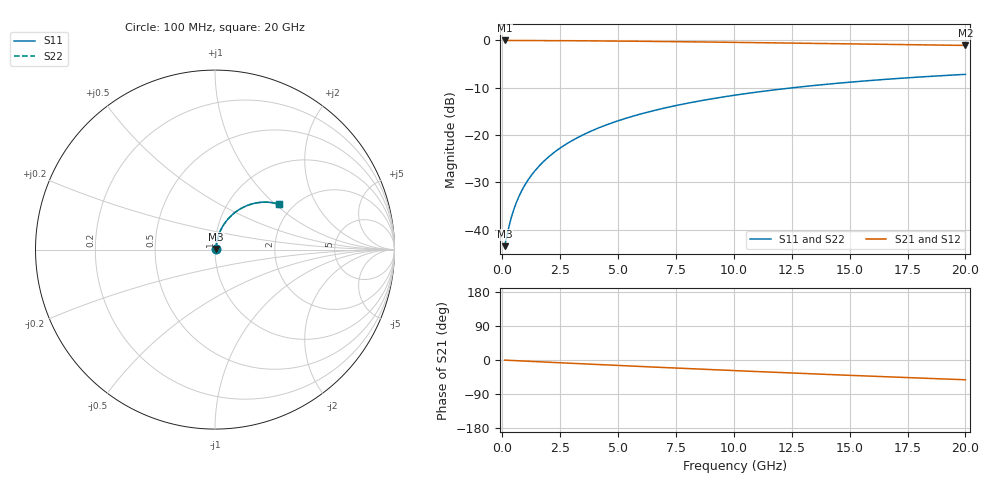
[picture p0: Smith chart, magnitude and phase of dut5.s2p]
! Touchstone file exported from HFSS 2026.1.0
!  File:  C:/ffzhzh/LocalFiles/Ansys_Project_Files/temp_train_TMRDL_5_1782879689_39248.aedt
!  Generated:  12:23:05 PM Jul  1, 2026
!  Design:  TMRDL
!  Project:  temp_train_TMRDL_5_1782879689_39248
! Variables:
!  h_bsmrdl = 2um
!  h_ox = 20um
!  h_rdl = 5um
!  h_sub = 80um
!  h_tmrdl = 4.46um
!  h_tsv = 80um
!  h_via = 3um
!  l_bsmrdl = 300um
!  l_sub = 1239.51um
!  l_tmrdl = 839.51um
!  m_sub = 200um
!  pitch = 28.39um
!  r_tsv = 6um
!  s_tmrdl = 10um
!  w_bsmrdl = 18um
!  w_sub = 500um
!  w_tmrdl = 11.22um
!  x_tsv_center1 = 845.12um
!  x_tsv_center2 = 1163.12um
!  x_tsv_center3 = 2013.85um
!  x_tsv_center4 = 2331.85um
!  x_tsv_center5 = 3182.58um
!  x_tsv_center6 = 3500.58um
# GHz S MA R 50.000000
! Terminal data exported
! Port[1] = TM_RDL1_1_T1
! Port[2] = TM_RDL1_1_T2
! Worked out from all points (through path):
!   200 points, 100 MHz to 20 GHz, reference 50 ohm
!   highest |S21| = -0.05 dB at 100 MHz (marker M1); lowest = -1.1 dB at 20 GHz (marker M2)
!   group delay of S21, straight-line fit = 7.24 ps
!   lowest |S11| = -43.5 dB at 100 MHz (marker M3), VSWR 1.01, Z = 50.6 + j0.314 ohm
!   |S11| at or under -10 dB: start of sweep to 12.6 GHz
!   |S22| runs from -43.5 to -7.2 dB; largest |S21 - S12| = 1.7e-14
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0.1  0.006705 27.6  0.9941 -0.3  0.9941 -0.3  0.006705 27.6
! Gamma 0 0 0 0
! Port Impedance 50 0 50 0
0.3  0.01112 55.1  0.9938 -0.9  0.9938 -0.9  0.01112 55.1
0.4  0.01373 61.2  0.9936 -1.2  0.9936 -1.2  0.01373 61.2
0.5  0.01642 65.2  0.9934 -1.5  0.9934 -1.5  0.01642 65.2
0.6  0.01915 68.1  0.9932 -1.8  0.9932 -1.8  0.01915 68.1
0.7  0.02191 70.1  0.9931 -2.1  0.9931 -2.1  0.02191 70.1
0.9  0.02749 72.9  0.9928 -2.7  0.9928 -2.7  0.02749 72.9
1.2  0.03595 75.2  0.9923 -3.5  0.9923 -3.5  0.03595 75.2
1.4  0.04162 76.0  0.992 -4.1  0.992 -4.1  0.04162 76.0
1.7  0.05014 76.5  0.9914 -5.0  0.9914 -5.0  0.05014 76.5
2.2  0.06433 76.6  0.9902 -6.4  0.9902 -6.4  0.06433 76.6
2.8  0.08122 76.0  0.9884 -8.2  0.9884 -8.2  0.08122 76.0
3.5  0.1007 74.7  0.986 -10.2  0.986 -10.2  0.1007 74.7
4.2  0.1198 73.2  0.9831 -12.2  0.9831 -12.2  0.1198 73.2
5  0.1411 71.3  0.9794 -14.4  0.9794 -14.4  0.1411 71.3
5.9  0.1645 69.0  0.9747 -16.9  0.9747 -16.9  0.1645 69.0
6.8  0.1872 66.8  0.9697 -19.4  0.9697 -19.4  0.1872 66.8
8.3  0.2235 63.0  0.9607 -23.4  0.9607 -23.4  0.2235 63.0
10.1  0.2643 58.5  0.949 -28.2  0.949 -28.2  0.2643 58.5
13.4  0.3315 50.5  0.9262 -36.6  0.9262 -36.6  0.3315 50.5
16.7  0.3888 42.8  0.9031 -44.5  0.9031 -44.5  0.3888 42.8
20  0.4362 35.5  0.8811 -52.2  0.8811 -52.2  0.4362 35.5
